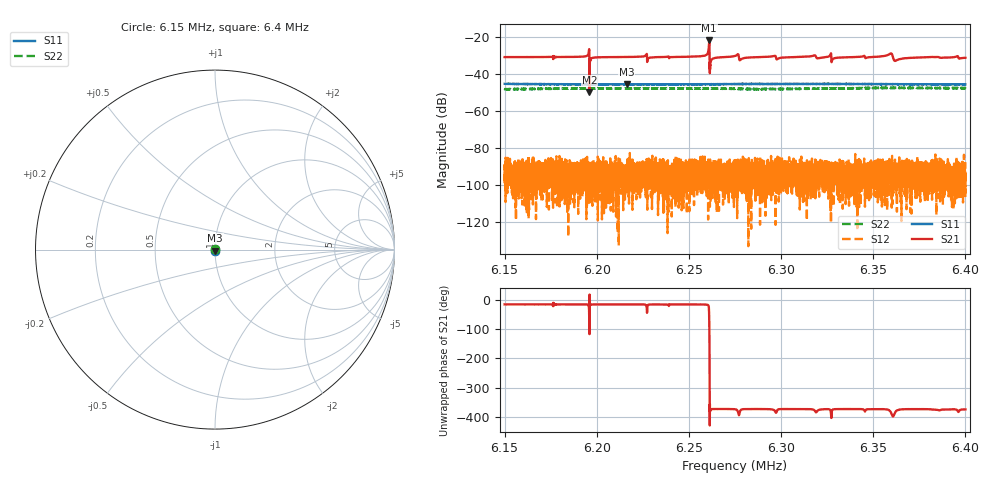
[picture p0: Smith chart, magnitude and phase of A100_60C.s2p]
!CETC41,AV3656A,ZGL00048,1.3.2
!Calibration ON (Full Solt 2-Port(Omit Isolation))
!Measurements: S11 S21 S12 S22
!2025-04-23 00:20
# Hz  S  dB  R 50.000
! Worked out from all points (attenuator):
!   6401 points, 6.15 MHz to 6.4 MHz, reference 50 ohm
!   highest |S21| = -21.82 dB at 6.2611 MHz (marker M1); lowest = -49.8 dB at 6.1961 MHz (marker M2)
!   lowest |S11| = -45.6 dB at 6.2162 MHz (marker M3), VSWR 1.01, Z = 50 - j0.524 ohm
!   |S11| at or under -10 dB: start of sweep to end of sweep
!   |S22| runs from -48.2 to -47.4 dB; largest |S21 - S12| = 0.081
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6150000  -45.27 -89.4  -30.80 -13.6  -98.72 53.9  -48.11 112.7
6191680  -45.51 -88.1  -30.59 -13.7  -87.01 -21.0  -47.84 113.7
6194727  -45.53 -88.4  -30.11 -14.0  -95.50 101.2  -47.78 113.5
6196055  -45.54 -88.2  -49.81 -116.1  -100.35 146.1  -47.71 113.7
6197266  -45.50 -88.2  -31.36 -13.8  -96.25 166.6  -47.78 114.1
6216172  -45.61 -88.3  -30.75 -13.7  -90.90 -14.7  -47.71 113.4
6233359  -45.56 -88.5  -30.80 -13.8  -94.92 79.8  -47.71 112.7
6256484  -45.44 -88.5  -30.34 -14.0  -88.27 80.1  -47.83 112.1
6259922  -45.43 -88.1  -29.18 -14.4  -89.42 135.8  -47.85 111.9
6261055  -45.46 -88.1  -21.82 -80.0  -89.95 126.1  -47.78 112.4
6262461  -45.47 -88.3  -32.04 -14.2  -90.99 98.3  -47.81 111.9
6264453  -45.45 -88.5  -31.22 -14.0  -100.46 -20.2  -47.87 111.4
6275000  -45.34 -87.6  -30.19 -14.9  -102.32 -82.5  -47.97 111.4
6278477  -45.30 -87.8  -31.87 -15.9  -90.41 -139.3  -48.02 110.9
6316680  -45.31 -87.3  -30.28 -15.0  -98.36 120.8  -48.00 111.5
6320508  -45.35 -87.6  -31.35 -17.1  -93.26 38.3  -47.88 111.0
6326016  -45.26 -87.5  -30.38 -14.7  -90.69 129.2  -47.83 111.1
6328555  -45.32 -87.6  -31.53 -14.8  -92.17 58.2  -47.81 111.2
6358359  -45.37 -87.6  -29.45 -17.2  -99.95 -92.1  -47.46 112.4
6362344  -45.40 -87.5  -32.68 -21.4  -89.49 78.7  -47.46 112.1
6381094  -45.48 -86.7  -30.77 -15.1  -99.58 154.4  -47.59 112.3
6400000  -45.54 -86.2  -31.20 -15.4  -87.70 107.0  -47.59 112.6
